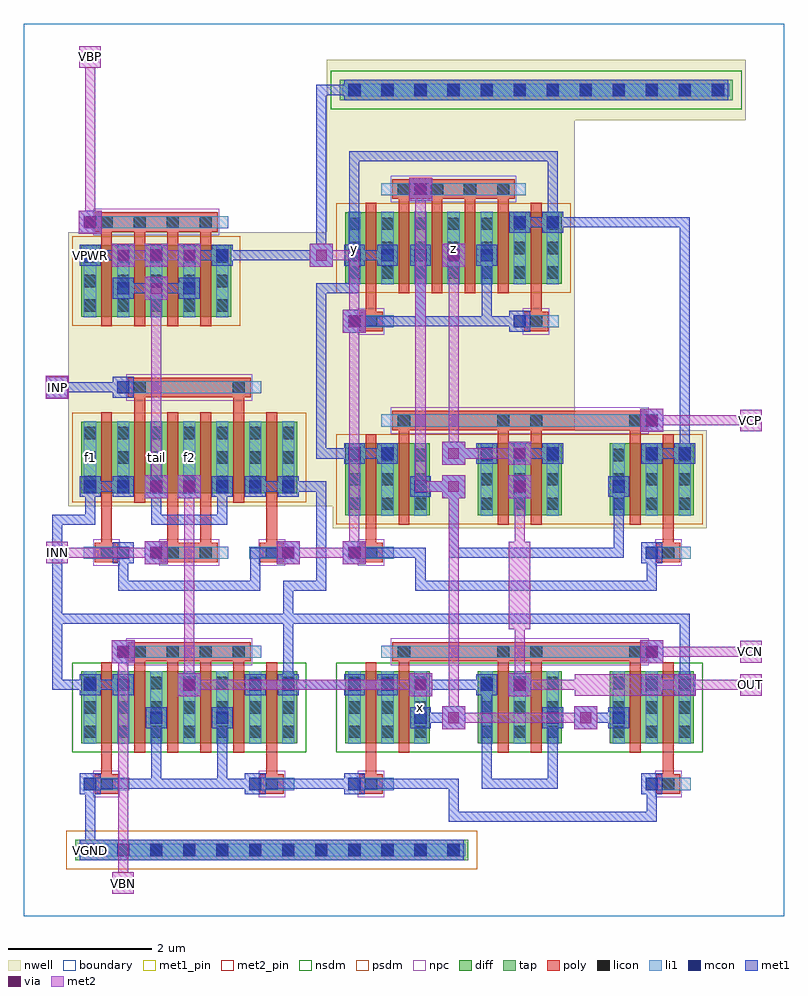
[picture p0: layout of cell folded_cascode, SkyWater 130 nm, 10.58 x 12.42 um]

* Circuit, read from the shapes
.subckt folded_cascode INN INP OUT VBN VBP VCN VCP VGND VPWR f1 f2 tail x y z
XM1 f1 VGND f1 VGND sky130_fd_pr__nfet_01v8 w=1 l=0.15 m=4
XM2 VGND VBN f1 VGND sky130_fd_pr__nfet_01v8 w=1 l=0.15 m=2
XM3 f2 VBN VGND VGND sky130_fd_pr__nfet_01v8 w=1 l=0.15 m=2
XM4 x VCN f1 VGND sky130_fd_pr__nfet_01v8 w=1 l=0.15 m=2
XM5 OUT VCN f2 VGND sky130_fd_pr__nfet_01v8 w=1 l=0.15 m=2
XM6 f1 VPWR f1 VPWR sky130_fd_pr__pfet_01v8 w=1 l=0.15 m=2
XM7 tail VBP VPWR VPWR sky130_fd_pr__pfet_01v8 w=1 l=0.15 m=4
XM8 tail INP f1 VPWR sky130_fd_pr__pfet_01v8 w=1 l=0.15 m=2
XM9 f2 INN tail VPWR sky130_fd_pr__pfet_01v8 w=1 l=0.15 m=2
XM10 y VPWR y VPWR sky130_fd_pr__pfet_01v8 w=1 l=0.15 m=4
XM11 x VCP y VPWR sky130_fd_pr__pfet_01v8 w=1 l=0.15 m=2
XM12 VPWR x y VPWR sky130_fd_pr__pfet_01v8 w=1 l=0.15 m=2
XM13 z x VPWR VPWR sky130_fd_pr__pfet_01v8 w=1 l=0.15 m=2
XM14 OUT VCP z VPWR sky130_fd_pr__pfet_01v8 w=1 l=0.15 m=2
.ends

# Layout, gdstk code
import gdstk
lib = gdstk.Library(unit=1e-6, precision=1e-09)
def R(c, l, rs):  # rectangles x0, y0, x1, y1
    for r in rs: c.add(gdstk.rectangle(r[:2], r[2:], *l))
def A(c, l, x, y, w, h, nx, ny, dx, dy):  # array of equal rectangles
    R(c, l, [(x+i*dx, y+j*dy, x+i*dx+w, y+j*dy+h) for i in range(nx) for j in range(ny)])
nwell = (64, 20)
diff = (65, 20)
tap = (65, 44)
poly = (66, 20)
licon = (66, 44)
li1 = (67, 20)
mcon = (67, 44)
met1_pin = (68, 16)
met1 = (68, 20)
via = (68, 44)
met2_pin = (69, 16)
met2 = (69, 20)
nsdm = (93, 44)
psdm = (94, 20)
npc = (95, 20)
boundary = (235, 4)

folded_cascode = lib.new_cell('folded_cascode')
R(folded_cascode, nwell, [(4.295,5.4,9.505,5.705), (0.615,5.705,9.505,6.76), (0.615,6.76,7.665,9.52), (4.215,9.52,7.665,11.08), (4.215,11.08,10.045,11.92)])
A(folded_cascode, diff, 4.475, 2.405, 1.17, 1, 3, 2, 1.84, 3.175)
R(folded_cascode, diff, [(0.795,2.405,3.805,3.405), (0.795,5.885,3.805,6.885), (0.795,8.34,2.885,9.34), (4.475,8.8,7.485,9.8)])
R(folded_cascode, tap, [(0.715,0.775,6.185,1.065), (4.395,11.355,9.865,11.645)])
A(folded_cascode, poly, 4.665, 1.705, 0.33, 0.27, 1, 3, 0, 3.22)
A(folded_cascode, poly, 1.535, 2.275, 0.15, 1.405, 4, 1, 0.46, 0)
A(folded_cascode, poly, 1.075, 8.21, 0.15, 1.45, 4, 1, 0.46, 0)
A(folded_cascode, poly, 5.215, 8.67, 0.15, 1.45, 4, 1, 0.46, 0)
R(folded_cascode, poly, [(0.985,1.705,1.315,1.975), (3.285,1.705,3.615,1.975), (8.805,1.705,9.135,1.975), (1.075,1.84,1.225,3.535), (3.375,1.84,3.525,3.535), (4.755,1.84,4.905,3.535), (8.895,1.84,9.045,3.535), (5.215,2.275,5.365,3.68), (6.595,2.275,6.745,3.68), (7.055,2.275,7.205,3.68), (8.435,2.275,8.585,3.68), (1.445,3.545,3.155,3.815), (5.125,3.545,8.675,3.815), (0.985,4.925,1.315,5.195), (1.905,4.925,2.695,5.195), (3.285,4.925,3.615,5.195), (8.805,4.925,9.135,5.195), (1.075,5.06,1.225,7.015), (1.995,5.06,2.145,7.015), (2.455,5.06,2.605,7.015), (3.375,5.06,3.525,7.015), (4.755,5.06,4.905,6.71), (8.895,5.06,9.045,6.71), (5.215,5.45,5.365,6.9), (6.595,5.45,6.745,6.9), (7.055,5.45,7.205,6.9), (8.435,5.45,8.585,6.9), (1.535,5.755,1.685,7.36), (2.915,5.755,3.065,7.36), (5.125,6.765,8.675,7.035), (1.445,7.225,3.155,7.495), (6.965,8.145,7.295,8.415), (4.755,8.28,4.905,9.93), (7.055,8.28,7.205,9.93), (0.985,9.525,2.695,9.795), (5.125,9.985,6.835,10.255)])
A(folded_cascode, licon, 0.835, 0.835, 0.17, 0.17, 12, 1, 0.46, 0)
A(folded_cascode, licon, 4.745, 1.755, 0.17, 0.17, 1, 3, 0, 3.22)
A(folded_cascode, licon, 0.835, 2.48, 0.17, 0.17, 7, 3, 0.46, 0.34)
A(folded_cascode, licon, 4.515, 2.48, 0.17, 0.17, 3, 3, 0.46, 0.34)
A(folded_cascode, licon, 6.355, 2.48, 0.17, 0.17, 3, 3, 0.46, 0.34)
A(folded_cascode, licon, 8.195, 2.48, 0.17, 0.17, 3, 3, 0.46, 0.34)
A(folded_cascode, licon, 1.525, 3.595, 0.17, 0.17, 4, 1, 0.46, 0)
A(folded_cascode, licon, 4.515, 5.655, 0.17, 0.17, 3, 3, 0.46, 0.34)
A(folded_cascode, licon, 6.355, 5.655, 0.17, 0.17, 3, 3, 0.46, 0.34)
A(folded_cascode, licon, 8.195, 5.655, 0.17, 0.17, 3, 3, 0.46, 0.34)
A(folded_cascode, licon, 0.835, 5.96, 0.17, 0.17, 7, 3, 0.46, 0.34)
A(folded_cascode, licon, 0.835, 8.415, 0.17, 0.17, 5, 3, 0.46, 0.34)
A(folded_cascode, licon, 4.515, 8.875, 0.17, 0.17, 7, 3, 0.46, 0.34)
A(folded_cascode, licon, 1.065, 9.575, 0.17, 0.17, 4, 1, 0.46, 0)
A(folded_cascode, licon, 5.205, 10.035, 0.17, 0.17, 4, 1, 0.46, 0)
A(folded_cascode, licon, 4.515, 11.415, 0.17, 0.17, 12, 1, 0.46, 0)
R(folded_cascode, licon, [(1.065,1.755,1.235,1.925), (3.365,1.755,3.535,1.925), (8.885,1.755,9.055,1.925), (5.205,3.595,5.375,3.765), (6.585,3.595,6.755,3.765), (7.045,3.595,7.215,3.765), (8.425,3.595,8.595,3.765), (1.065,4.975,1.235,5.145), (1.985,4.975,2.155,5.145), (2.445,4.975,2.615,5.145), (3.365,4.975,3.535,5.145), (8.885,4.975,9.055,5.145), (5.205,6.815,5.375,6.985), (6.585,6.815,6.755,6.985), (7.045,6.815,7.215,6.985), (8.425,6.815,8.595,6.985), (1.525,7.275,1.695,7.445), (2.905,7.275,3.075,7.445), (7.045,8.195,7.215,8.365)])
A(folded_cascode, li1, 4.515, 1.755, 0.63, 0.17, 1, 3, 0, 3.22)
A(folded_cascode, li1, 0.835, 2.4, 0.17, 1.01, 7, 2, 0.46, 3.48)
A(folded_cascode, li1, 4.515, 2.4, 0.17, 1.01, 3, 2, 0.46, 3.175)
A(folded_cascode, li1, 6.355, 2.4, 0.17, 1.01, 3, 2, 0.46, 3.175)
A(folded_cascode, li1, 8.195, 2.4, 0.17, 1.01, 3, 2, 0.46, 3.175)
A(folded_cascode, li1, 0.835, 8.335, 0.17, 1.01, 5, 1, 0.46, 0)
A(folded_cascode, li1, 4.515, 8.795, 0.17, 1.01, 7, 1, 0.46, 0)
R(folded_cascode, li1, [(0.755,0.835,6.145,1.005), (0.835,1.755,1.465,1.925), (3.135,1.755,3.765,1.925), (8.655,1.755,9.285,1.925), (1.295,3.595,3.305,3.765), (4.975,3.595,8.825,3.765), (0.835,4.975,1.465,5.145), (1.755,4.975,2.845,5.145), (3.135,4.975,3.765,5.145), (8.655,4.975,9.285,5.145), (4.975,6.815,8.825,6.985), (1.295,7.275,3.305,7.445), (6.815,8.195,7.445,8.365), (0.835,9.575,2.845,9.745), (4.975,10.035,6.985,10.205), (4.435,11.415,9.825,11.585)])
A(folded_cascode, mcon, 0.835, 0.835, 0.17, 0.17, 12, 1, 0.46, 0)
A(folded_cascode, mcon, 1.295, 3.135, 0.17, 0.17, 3, 1, 0.92, 0)
A(folded_cascode, mcon, 8.655, 3.595, 0.17, 0.17, 1, 3, 0, 1.38)
A(folded_cascode, mcon, 0.835, 5.895, 0.17, 0.17, 7, 1, 0.46, 0)
A(folded_cascode, mcon, 5.435, 5.895, 0.17, 0.17, 3, 1, 1.38, 0)
A(folded_cascode, mcon, 0.835, 9.115, 0.17, 0.17, 3, 1, 0.92, 0)
A(folded_cascode, mcon, 4.515, 9.115, 0.17, 0.17, 5, 1, 0.46, 0)
A(folded_cascode, mcon, 4.515, 11.415, 0.17, 0.17, 12, 1, 0.46, 0)
R(folded_cascode, mcon, [(0.835,1.755,1.005,1.925), (3.135,1.755,3.305,1.925), (4.515,1.755,4.685,1.925), (8.655,1.755,8.825,1.925), (1.755,2.675,1.925,2.845), (2.675,2.675,2.845,2.845), (5.435,2.675,5.605,2.845), (7.275,2.675,7.445,2.845), (8.195,2.675,8.365,2.845), (0.835,3.135,1.005,3.305), (3.595,3.135,3.765,3.305), (4.515,3.135,4.685,3.305), (4.975,3.135,5.145,3.305), (6.355,3.135,6.525,3.305), (6.815,3.135,6.985,3.305), (8.655,3.135,8.825,3.305), (9.115,3.135,9.285,3.305), (1.295,3.595,1.465,3.765), (1.295,4.975,1.465,5.145), (1.755,4.975,1.925,5.145), (3.595,4.975,3.765,5.145), (4.515,4.975,4.685,5.145), (4.515,6.355,4.685,6.525), (4.975,6.355,5.145,6.525), (6.355,6.355,6.525,6.525), (7.275,6.355,7.445,6.525), (9.115,6.355,9.285,6.525), (8.655,6.815,8.825,6.985), (1.295,7.275,1.465,7.445), (4.515,8.195,4.685,8.365), (6.815,8.195,6.985,8.365), (1.295,8.655,1.465,8.825), (2.215,8.655,2.385,8.825), (0.835,9.575,1.005,9.745), (6.815,9.575,6.985,9.745), (7.275,9.575,7.445,9.745), (5.435,10.035,5.605,10.205)])
R(folded_cascode, met1_pin, [(0.85,0.85,0.99,0.99), (0.775,9.055,1.065,9.345)])
A(folded_cascode, met1, 1.77, 1.77, 1.52, 0.14, 3, 1, 1.38, 0)
A(folded_cascode, met1, 1.235, 3.075, 0.29, 0.29, 3, 1, 0.92, 0)
A(folded_cascode, met1, 8.595, 3.535, 0.29, 0.29, 1, 3, 0, 1.38)
A(folded_cascode, met1, 0.85, 5.45, 0.14, 0.6, 3, 1, 0.92, 0)
A(folded_cascode, met1, 0.775, 5.835, 0.29, 0.29, 7, 1, 0.46, 0)
A(folded_cascode, met1, 5.375, 5.835, 0.29, 0.29, 3, 1, 1.38, 0)
A(folded_cascode, met1, 1.22, 9.04, 0.32, 0.32, 3, 1, 0.46, 0)
A(folded_cascode, met1, 0.775, 9.055, 0.29, 0.29, 3, 1, 0.92, 0)
A(folded_cascode, met1, 4.455, 9.055, 0.29, 0.29, 5, 1, 0.46, 0)
R(folded_cascode, met1, [(0.775,0.775,6.125,1.065), (0.85,0.85,0.99,1.91), (0.85,0.85,0.99,0.99), (5.91,1.31,8.81,1.45), (5.91,1.31,6.05,1.91), (8.67,1.31,8.81,1.91), (0.775,1.695,1.065,1.985), (3.075,1.695,3.365,1.985), (4.455,1.695,4.745,1.985), (8.595,1.695,8.885,1.985), (0.85,1.77,1.91,1.91), (1.77,1.77,1.91,2.83), (2.69,1.77,2.83,2.83), (6.37,1.77,7.43,1.91), (6.37,1.77,6.51,3.29), (7.29,1.77,7.43,2.83), (5.82,2.6,6.14,2.92), (7.66,2.6,7.98,2.92), (1.695,2.615,1.985,2.905), (2.615,2.615,2.905,2.905), (5.375,2.615,5.665,2.905), (7.215,2.615,7.505,2.905), (8.135,2.615,8.425,2.905), (5.45,2.69,6.05,2.83), (7.75,2.69,8.35,2.83), (2.14,3.06,2.46,3.38), (5.36,3.06,5.68,3.38), (6.74,3.06,7.06,3.38), (0.775,3.075,1.065,3.365), (3.535,3.075,3.825,3.365), (4.455,3.075,4.745,3.365), (4.915,3.075,5.205,3.365), (6.295,3.075,6.585,3.365), (6.755,3.075,7.045,3.365), (8.595,3.075,8.885,3.365), (9.055,3.075,9.345,3.365), (0.39,3.15,0.99,3.29), (0.39,3.15,0.53,5.59), (0.85,3.15,1.45,3.29), (3.15,3.15,3.75,3.29), (3.61,3.15,4.67,3.29), (3.61,3.15,3.75,4.21), (4.53,3.15,5.13,3.29), (5.45,3.15,6.51,3.29), (8.67,3.15,9.27,3.29), (9.13,3.15,9.27,4.21), (1.22,3.52,1.54,3.84), (8.58,3.52,8.9,3.84), (1.235,3.535,1.525,3.825), (0.39,4.07,3.75,4.21), (3.61,4.07,9.27,4.21), (3.61,4.07,3.75,4.67), (1.31,4.53,3.29,4.67), (1.31,4.53,1.45,5.13), (3.15,4.53,3.29,5.13), (3.61,4.53,4.21,4.67), (4.07,4.53,4.21,6.05), (5.45,4.53,5.59,5.13), (5.45,4.53,8.81,4.67), (8.67,4.53,8.81,5.13), (1.68,4.9,2,5.22), (3.52,4.9,3.84,5.22), (4.44,4.9,4.76,5.22), (1.235,4.915,1.525,5.205), (1.695,4.915,1.985,5.205), (3.535,4.915,3.825,5.205), (4.455,4.915,4.745,5.205), (3.15,4.99,3.75,5.13), (4.53,4.99,5.59,5.13), (5.91,4.99,6.05,6.05), (5.91,4.99,8.35,5.13), (8.21,4.99,8.35,6.05), (0.39,5.45,0.99,5.59), (1.77,5.45,2.83,5.59), (1.68,5.82,2,6.14), (2.14,5.82,2.46,6.14), (5.82,5.82,6.14,6.14), (6.74,5.82,7.06,6.14), (0.85,5.91,1.45,6.05), (3.15,5.91,3.75,6.05), (3.61,5.91,4.21,6.05), (5.45,5.91,6.05,6.05), (5.82,6.28,6.14,6.6), (6.74,6.28,7.06,6.6), (4.455,6.295,4.745,6.585), (4.915,6.295,5.205,6.585), (6.295,6.295,6.585,6.585), (7.215,6.295,7.505,6.585), (9.055,6.295,9.345,6.585), (4.07,6.37,4.67,6.51), (4.07,6.37,4.21,8.81), (4.53,6.37,5.13,6.51), (5.91,6.37,6.51,6.51), (6.83,6.37,7.43,6.51), (8.67,6.37,9.27,6.51), (9.13,6.37,9.27,9.73), (8.58,6.74,8.9,7.06), (8.595,6.755,8.885,7.045), (0.3,7.2,0.62,7.52), (1.235,7.215,1.525,7.505), (0.39,7.29,1.45,7.43), (4.44,8.12,4.76,8.44), (4.455,8.135,4.745,8.425), (6.755,8.135,7.045,8.425), (4.53,8.21,5.59,8.35), (5.45,8.21,6.97,8.35), (5.45,8.21,5.59,9.27), (6.37,8.21,6.51,9.27), (1.68,8.58,2,8.9), (1.235,8.595,1.525,8.885), (2.155,8.595,2.445,8.885), (1.31,8.67,1.91,8.81), (1.77,8.67,2.37,8.81), (4.07,8.67,4.67,8.81), (4.53,8.67,4.67,9.27), (3.98,9.04,4.3,9.36), (5.82,9.04,6.14,9.36), (0.85,9.13,1.45,9.27), (2.23,9.13,2.83,9.27), (2.69,9.13,4.21,9.27), (4.07,9.13,4.21,11.57), (4.53,9.13,5.13,9.27), (4.53,9.13,4.67,10.65), (0.76,9.5,1.08,9.82), (0.775,9.515,1.065,9.805), (6.755,9.515,7.045,9.805), (7.215,9.515,7.505,9.805), (6.83,9.59,7.43,9.73), (7.29,9.59,7.43,10.65), (7.29,9.59,9.27,9.73), (5.36,9.96,5.68,10.28), (5.375,9.975,5.665,10.265), (4.53,10.51,7.43,10.65), (4.455,11.355,9.805,11.645), (4.07,11.43,4.67,11.57), (4.53,11.43,4.67,11.57)])
A(folded_cascode, via, 1.305, 9.125, 0.15, 0.15, 3, 1, 0.46, 0)
R(folded_cascode, via, [(5.905,2.685,6.055,2.835), (7.745,2.685,7.895,2.835), (2.225,3.145,2.375,3.295), (5.445,3.145,5.595,3.295), (6.825,3.145,6.975,3.295), (1.305,3.605,1.455,3.755), (8.665,3.605,8.815,3.755), (1.765,4.985,1.915,5.135), (3.605,4.985,3.755,5.135), (4.525,4.985,4.675,5.135), (1.765,5.905,1.915,6.055), (2.225,5.905,2.375,6.055), (5.905,5.905,6.055,6.055), (6.825,5.905,6.975,6.055), (5.905,6.365,6.055,6.515), (6.825,6.365,6.975,6.515), (8.665,6.825,8.815,6.975), (0.385,7.285,0.535,7.435), (4.525,8.205,4.675,8.355), (1.765,8.665,1.915,8.815), (4.065,9.125,4.215,9.275), (5.905,9.125,6.055,9.275), (0.845,9.585,0.995,9.735), (5.445,10.045,5.595,10.195)])
R(folded_cascode, met2_pin, [(1.23,0.31,1.53,0.61), (9.97,3.07,10.27,3.37), (9.97,3.53,10.27,3.83), (0.31,4.91,0.61,5.21), (9.97,6.75,10.27,7.05), (0.31,7.21,0.61,7.51), (0.77,11.81,1.07,12.11)])
A(folded_cascode, met2, 1.22, 9.04, 0.32, 0.32, 3, 1, 0.46, 0)
R(folded_cascode, met2, [(1.23,0.31,1.53,0.61), (1.31,0.39,1.45,0.53), (1.31,0.39,1.45,3.75), (5.82,2.6,6.14,2.92), (7.66,2.6,7.98,2.92), (5.91,2.69,7.89,2.83), (5.91,2.69,6.05,6.05), (2.14,3.06,2.46,3.38), (5.36,3.06,5.68,3.38), (6.74,3.06,7.06,3.38), (7.67,3.07,9.35,3.37), (9.97,3.07,10.27,3.37), (2.23,3.15,2.37,6.05), (2.23,3.15,5.59,3.29), (6.83,3.15,6.97,4.21), (6.83,3.15,7.89,3.29), (9.13,3.15,10.19,3.29), (10.05,3.15,10.19,3.29), (1.22,3.52,1.54,3.84), (8.58,3.52,8.9,3.84), (9.97,3.53,10.27,3.83), (8.67,3.61,10.19,3.75), (10.05,3.61,10.19,3.75), (6.75,3.99,7.05,5.21), (1.68,4.9,2,5.22), (3.52,4.9,3.84,5.22), (4.44,4.9,4.76,5.22), (0.31,4.91,0.61,5.21), (0.39,4.99,0.53,5.13), (0.39,4.99,1.91,5.13), (3.61,4.99,4.67,5.13), (4.53,4.99,4.67,8.35), (6.83,4.99,6.97,6.05), (1.68,5.82,2,6.14), (2.14,5.82,2.46,6.14), (5.82,5.82,6.14,6.14), (6.74,5.82,7.06,6.14), (1.77,5.91,1.91,8.81), (5.45,5.91,6.05,6.05), (5.45,5.91,5.59,10.19), (5.82,6.28,6.14,6.6), (6.74,6.28,7.06,6.6), (5.91,6.37,6.97,6.51), (5.91,6.37,6.05,9.27), (8.58,6.74,8.9,7.06), (9.97,6.75,10.27,7.05), (8.67,6.83,10.19,6.97), (10.05,6.83,10.19,6.97), (0.3,7.2,0.62,7.52), (0.31,7.21,0.61,7.51), (0.39,7.29,0.53,7.43), (4.44,8.12,4.76,8.44), (4.53,8.21,4.67,9.27), (1.68,8.58,2,8.9), (3.98,9.04,4.3,9.36), (5.82,9.04,6.14,9.36), (1.31,9.13,1.91,9.27), (1.77,9.13,2.37,9.27), (4.07,9.13,4.67,9.27), (0.76,9.5,1.08,9.82), (0.85,9.59,0.99,12.03), (5.36,9.96,5.68,10.28), (0.77,11.81,1.07,12.11), (0.85,11.89,0.99,12.03)])
R(folded_cascode, nsdm, [(0.67,2.28,3.93,3.53), (4.35,2.28,9.45,3.53), (4.27,11.23,9.99,11.77)])
R(folded_cascode, psdm, [(0.59,0.65,6.31,1.19), (4.35,5.455,9.45,6.705), (0.67,5.76,3.93,7.01), (0.67,8.215,3.01,9.465), (4.35,8.675,7.61,9.925)])
A(folded_cascode, npc, 4.645, 1.655, 0.37, 0.37, 1, 3, 0, 3.22)
R(folded_cascode, npc, [(0.965,1.655,1.335,2.025), (3.265,1.655,3.635,2.025), (8.785,1.655,9.155,2.025), (1.425,3.495,3.175,3.865), (5.105,3.495,8.695,3.865), (0.965,4.875,1.335,5.245), (1.885,4.875,2.715,5.245), (3.265,4.875,3.635,5.245), (8.785,4.875,9.155,5.245), (5.105,6.715,8.695,7.085), (1.425,7.175,3.175,7.545), (6.945,8.095,7.315,8.465), (0.965,9.475,2.715,9.845), (5.105,9.935,6.855,10.305)])
R(folded_cascode, boundary, [(0,0,10.58,12.42)])
folded_cascode.add(gdstk.Label('f1', (0.92,6.385), layer=67, texttype=5))
folded_cascode.add(gdstk.Label('tail', (1.84,6.385), layer=67, texttype=5))
folded_cascode.add(gdstk.Label('f2', (2.3,6.385), layer=67, texttype=5))
folded_cascode.add(gdstk.Label('x', (5.52,2.905), layer=67, texttype=5))
folded_cascode.add(gdstk.Label('y', (4.6,9.3), layer=67, texttype=5))
folded_cascode.add(gdstk.Label('z', (5.98,9.3), layer=67, texttype=5))
folded_cascode.add(gdstk.Label('VPWR', (0.92,9.2), layer=68, texttype=5))
folded_cascode.add(gdstk.Label('VGND', (0.92,0.92), layer=68, texttype=5))
folded_cascode.add(gdstk.Label('INP', (0.46,7.36), layer=69, texttype=5))
folded_cascode.add(gdstk.Label('INN', (0.46,5.06), layer=69, texttype=5))
folded_cascode.add(gdstk.Label('VBP', (0.92,11.96), layer=69, texttype=5))
folded_cascode.add(gdstk.Label('VBN', (1.38,0.46), layer=69, texttype=5))
folded_cascode.add(gdstk.Label('VCN', (10.12,3.68), layer=69, texttype=5))
folded_cascode.add(gdstk.Label('VCP', (10.12,6.9), layer=69, texttype=5))
folded_cascode.add(gdstk.Label('OUT', (10.12,3.22), layer=69, texttype=5))
folded_cascode.add(gdstk.Label('VPWR', (0.92,9.2), layer=68, texttype=16))
folded_cascode.add(gdstk.Label('VGND', (0.92,0.92), layer=68, texttype=16))
folded_cascode.add(gdstk.Label('INP', (0.46,7.36), layer=69, texttype=16))
folded_cascode.add(gdstk.Label('INN', (0.46,5.06), layer=69, texttype=16))
folded_cascode.add(gdstk.Label('VBP', (0.92,11.96), layer=69, texttype=16))
folded_cascode.add(gdstk.Label('VBN', (1.38,0.46), layer=69, texttype=16))
folded_cascode.add(gdstk.Label('VCN', (10.12,3.68), layer=69, texttype=16))
folded_cascode.add(gdstk.Label('VCP', (10.12,6.9), layer=69, texttype=16))
folded_cascode.add(gdstk.Label('OUT', (10.12,3.22), layer=69, texttype=16))

lib.write_gds('folded_cascode.gds')
